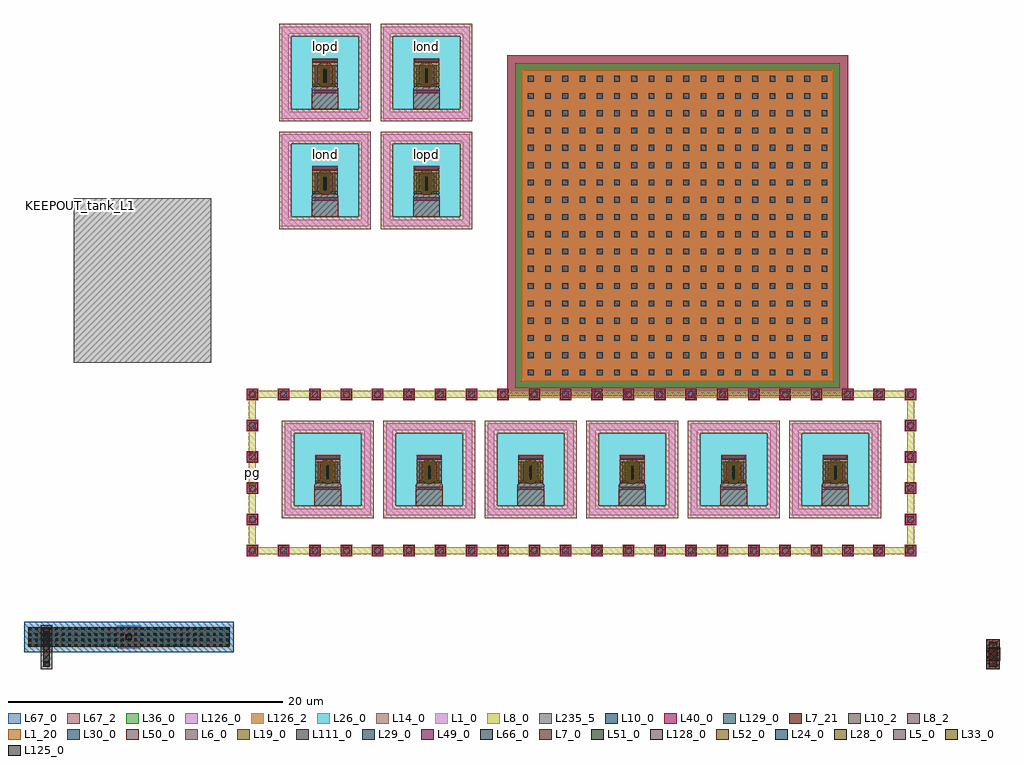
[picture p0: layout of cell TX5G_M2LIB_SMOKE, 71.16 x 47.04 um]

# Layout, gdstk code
from math import pi, radians
import gdstk
lib = gdstk.Library(unit=1e-6, precision=1e-09)
def R(c, l, rs):  # rectangles x0, y0, x1, y1
    for r in rs: c.add(gdstk.rectangle(r[:2], r[2:], *l))
def A(c, l, x, y, w, h, nx, ny, dx, dy):  # array of equal rectangles
    R(c, l, [(x+i*dx, y+j*dy, x+i*dx+w, y+j*dy+h) for i in range(nx) for j in range(ny)])
def P(c, l, *ps):  # polygons
    for p in ps: c.add(gdstk.Polygon(p, *l))
L1_0 = (1, 0)
L1_20 = (1, 20)
L5_0 = (5, 0)
L6_0 = (6, 0)
L7_0 = (7, 0)
L7_21 = (7, 21)
L8_0 = (8, 0)
L8_2 = (8, 2)
L10_0 = (10, 0)
L10_2 = (10, 2)
L14_0 = (14, 0)
L19_0 = (19, 0)
L24_0 = (24, 0)
L26_0 = (26, 0)
L28_0 = (28, 0)
L29_0 = (29, 0)
L30_0 = (30, 0)
L33_0 = (33, 0)
L36_0 = (36, 0)
L40_0 = (40, 0)
L49_0 = (49, 0)
L50_0 = (50, 0)
L51_0 = (51, 0)
L52_0 = (52, 0)
L66_0 = (66, 0)
L67_0 = (67, 0)
L67_2 = (67, 2)
L111_0 = (111, 0)
L125_0 = (125, 0)
L126_0 = (126, 0)
L126_2 = (126, 2)
L128_0 = (128, 0)
L129_0 = (129, 0)
L235_5 = (235, 5)

npn13g2 = lib.new_cell('npn13G2')
R(npn13g2, L1_0, [(-0.925,0.98,0.925,1.28)])
P(npn13g2, L1_0, [(-3.15,-3.13),(-3.15,3.58),(2.65,3.58),(2.65,3.08),(-2.65,3.08),(-2.65,-2.63),(2.65,-2.63),(2.65,3.58),(3.15,3.58),(3.15,-3.13)])
P(npn13g2, L1_20, [(-0.235,-0.83),(-0.445,-0.62),(-0.925,-0.62),(-0.925,0.98),(0.925,0.98),(0.925,-0.62),(0.445,-0.62),(0.235,-0.83)])
R(npn13g2, L6_0, [(-0.76,-1.22,0.76,-1.06), (-0.825,1.05,0.825,1.21)])
P(npn13g2, L7_21, [(-0.975,-2.43),(-0.975,-0.9),(-0.555,-0.48),(-0.555,0.69),(-0.305,0.94),(0.305,0.94),(0.555,0.69),(0.555,-0.48),(0.975,-0.9),(0.975,-2.43)])
R(npn13g2, L8_0, [(-0.975,-1.26,0.975,-1.02), (-0.35,-0.785,0.35,0.77), (-0.925,1.01,0.925,1.25)])
R(npn13g2, L8_2, [(-0.975,-1.26,0.975,-1.02), (-0.975,-1.26,0.975,-1.02), (-0.925,1.01,0.925,1.25), (-0.925,1.01,0.925,1.25)])
R(npn13g2, L10_0, [(-0.925,-0.785,0.925,0.77)])
R(npn13g2, L10_2, [(-0.745,-0.785,0.745,0.77), (-0.745,-0.785,0.745,0.77)])
P(npn13g2, L14_0, [(-3.35,-3.33),(-3.35,3.78),(2.45,3.78),(2.45,2.88),(-2.45,2.88),(-2.45,-2.43),(2.45,-2.43),(2.45,3.78),(3.35,3.78),(3.35,-3.33)])
A(npn13g2, L19_0, -0.3, -0.72, 0.19, 0.19, 1, 4, 0, 0.41)
A(npn13g2, L19_0, 0.11, -0.72, 0.19, 0.19, 1, 4, 0, 0.41)
R(npn13g2, L26_0, [(-2.45,-2.43,2.45,2.88)])
R(npn13g2, L33_0, [(-0.035,-0.45,0.035,0.45)])
R(npn13g2, L51_0, [(-0.085,-0.5,0.085,0.5)])
npn13g2.add(gdstk.Label('npn13G2', (0,0), layer=51, texttype=0))
npn13g2.add(gdstk.Label('npn13G2', (0.015,2.31), layer=63, texttype=0))
npn13g2.add(gdstk.Label('C', (0,1.13), layer=63, texttype=0))
npn13g2.add(gdstk.Label('B', (0,-1.14), layer=63, texttype=0))
npn13g2.add(gdstk.Label('E', (0,-0.007), layer=63, texttype=0))
npn13g2.add(gdstk.Label('Ae=1*1*0.07*0.90', (-1.977,-2.546), layer=63, texttype=0))

ptap1 = lib.new_cell('ptap1')
R(ptap1, L1_0, [(0,0,0.78,0.78)])
R(ptap1, L6_0, [(0.14,0.14,0.3,0.3), (0.48,0.14,0.64,0.3), (0.14,0.48,0.3,0.64), (0.48,0.48,0.64,0.64)])
R(ptap1, L8_0, [(0.14,0.09,0.64,0.69), (0.14,0.14,0.64,0.64), (0.14,0.14,0.64,0.64)])
R(ptap1, L8_2, [(0.14,0.14,0.64,0.64)])
R(ptap1, L14_0, [(-0.03,-0.03,0.81,0.81)])
R(ptap1, L40_0, [(0,0,0.78,0.78), (0,0,0.78,0.78)])
ptap1.add(gdstk.Label('sub!', (0.39,0.01), layer=63, texttype=0))
ptap1.add(gdstk.Label('sub!', (0.39,0.01), layer=40, texttype=0))

via_stack = lib.new_cell('via_stack')
R(via_stack, L8_0, [(-7.345,-0.72,7.345,0.72)])
R(via_stack, L10_0, [(-7.345,-0.715,7.345,0.715)])
A(via_stack, L19_0, -7.295, -0.71, 0.19, 0.19, 31, 4, 0.48, 0.41)

via_stack_1 = lib.new_cell('via_stack$1')
R(via_stack_1, L10_0, [(-7.345,-0.715,7.345,0.715)])
A(via_stack_1, L29_0, -7.295, -0.71, 0.19, 0.19, 31, 4, 0.48, 0.41)
R(via_stack_1, L30_0, [(-7.345,-0.715,7.345,0.715)])
A(via_stack_1, L49_0, -7.295, -0.71, 0.19, 0.19, 31, 4, 0.48, 0.41)
R(via_stack_1, L50_0, [(-7.345,-0.715,7.345,0.715)])
A(via_stack_1, L66_0, -7.295, -0.71, 0.19, 0.19, 31, 4, 0.48, 0.41)
R(via_stack_1, L67_0, [(-7.345,-0.715,7.345,0.715)])
R(via_stack_1, L125_0, [(-0.21,-0.21,0.21,0.21)])
R(via_stack_1, L126_0, [(-0.82,-0.82,0.82,0.82)])

rsil = lib.new_cell('rsil')
R(rsil, L5_0, [(0,-0.35,0.5,0), (0,2.14,0.5,2.49)])
R(rsil, L6_0, [(0.07,-0.28,0.43,-0.12), (0.07,2.26,0.43,2.42)])
R(rsil, L8_0, [(0.02,-0.33,0.48,-0.07), (0.02,2.21,0.48,2.47)])
R(rsil, L8_2, [(0.02,-0.33,0.48,-0.07), (0.02,-0.33,0.48,-0.07), (0.02,2.21,0.48,2.47), (0.02,2.21,0.48,2.47)])
R(rsil, L24_0, [(0,0,0.5,2.14)])
R(rsil, L52_0, [(0,0,0.5,2.14)])
R(rsil, L111_0, [(-0.18,-0.53,0.68,0), (-0.18,0,0.68,2.14), (-0.18,0,0.68,2.67)])
R(rsil, L128_0, [(0,0,0.5,2.14)])
rsil.add(gdstk.Label('rsil r=47.4', (0.25,1.07), layer=63, texttype=0))
rsil.add(gdstk.Label('rsil', (0.25,1.07), layer=52, texttype=0))

rhigh = lib.new_cell('rhigh')
R(rhigh, L5_0, [(0,-0.43,0.62,0), (0,0.96,0.62,1.39)])
R(rhigh, L6_0, [(0.07,-0.36,0.55,-0.2), (0.07,1.16,0.55,1.32)])
R(rhigh, L7_0, [(-0.18,-0.61,0.8,0.18), (-0.18,0,0.8,0.96), (-0.18,0,0.8,0.96), (-0.18,0.78,0.8,1.57)])
R(rhigh, L8_0, [(0.02,-0.41,0.6,-0.15), (0.02,1.11,0.6,1.37)])
R(rhigh, L8_2, [(0.02,-0.41,0.6,-0.15), (0.02,-0.41,0.6,-0.15), (0.02,1.11,0.6,1.37), (0.02,1.11,0.6,1.37)])
R(rhigh, L14_0, [(-0.18,-0.61,0.8,0.18), (-0.18,0,0.8,0.96), (-0.18,0,0.8,0.96), (-0.18,0.78,0.8,1.57)])
R(rhigh, L28_0, [(-0.2,0,0.82,0.96)])
R(rhigh, L52_0, [(0,0,0.62,0.96)])
R(rhigh, L111_0, [(-0.18,-0.61,0.8,0.18), (-0.2,0,0.82,0.96), (-0.18,0.78,0.8,1.57)])
R(rhigh, L128_0, [(0,0,0.62,0.96)])
rhigh.add(gdstk.Label('rhigh r=2509.099', (0.31,0.48), layer=63, texttype=0))
rhigh.add(gdstk.Label('rhigh', (0.31,0.48), layer=52, texttype=0))

cmim = lib.new_cell('cmim')
R(cmim, L36_0, [(0,0,23.66,23.66)])
R(cmim, L67_0, [(-0.6,-0.6,24.26,24.26)])
R(cmim, L67_2, [(-0.6,-0.6,24.26,24.26)])
R(cmim, L126_0, [(0.49,0.49,23.17,23.17)])
R(cmim, L126_2, [(0.49,0.49,23.17,23.17)])
A(cmim, L129_0, 0.91, 0.91, 0.42, 0.42, 18, 18, 1.26, 1.26)
cmim.add(gdstk.Label('c=844f', (11.83,11.83), layer=63, texttype=0))
cmim.add(gdstk.Label('cmim', (11.83,11.83), layer=63, texttype=0))

tx5g_m2lib_smoke = lib.new_cell('TX5G_M2LIB_SMOKE')
R(tx5g_m2lib_smoke, L8_0, [(21,-5.95,69,-5.45), (20.75,-5.7,21.25,5.7), (68.75,-5.7,69.25,5.7), (21,5.45,69,5.95)])
R(tx5g_m2lib_smoke, L10_0, [(4.355,-13.12,19.645,-10.88)])
R(tx5g_m2lib_smoke, L235_5, [(8,8,18,20)])
tx5g_m2lib_smoke.add(gdstk.Reference(npn13g2, (26.5,0)))
tx5g_m2lib_smoke.add(gdstk.Reference(npn13g2, (33.9,0)))
tx5g_m2lib_smoke.add(gdstk.Reference(npn13g2, (41.3,0)))
tx5g_m2lib_smoke.add(gdstk.Reference(npn13g2, (48.7,0), rotation=pi, x_reflection=True))
tx5g_m2lib_smoke.add(gdstk.Reference(npn13g2, (56.1,0), rotation=pi, x_reflection=True))
tx5g_m2lib_smoke.add(gdstk.Reference(npn13g2, (63.5,0), rotation=pi, x_reflection=True))
tx5g_m2lib_smoke.add(gdstk.Reference(ptap1, (20.61,-6.09)))
tx5g_m2lib_smoke.add(gdstk.Reference(ptap1, (20.61,5.31)))
tx5g_m2lib_smoke.add(gdstk.Reference(ptap1, (22.895,-6.09)))
tx5g_m2lib_smoke.add(gdstk.Reference(ptap1, (22.895,5.31)))
tx5g_m2lib_smoke.add(gdstk.Reference(ptap1, (25.18,-6.09)))
tx5g_m2lib_smoke.add(gdstk.Reference(ptap1, (25.18,5.31)))
tx5g_m2lib_smoke.add(gdstk.Reference(ptap1, (27.465,-6.09)))
tx5g_m2lib_smoke.add(gdstk.Reference(ptap1, (27.465,5.31)))
tx5g_m2lib_smoke.add(gdstk.Reference(ptap1, (29.75,-6.09)))
tx5g_m2lib_smoke.add(gdstk.Reference(ptap1, (29.75,5.31)))
tx5g_m2lib_smoke.add(gdstk.Reference(ptap1, (32.035,-6.09)))
tx5g_m2lib_smoke.add(gdstk.Reference(ptap1, (32.035,5.31)))
tx5g_m2lib_smoke.add(gdstk.Reference(ptap1, (34.32,-6.09)))
tx5g_m2lib_smoke.add(gdstk.Reference(ptap1, (34.32,5.31)))
tx5g_m2lib_smoke.add(gdstk.Reference(ptap1, (36.605,-6.09)))
tx5g_m2lib_smoke.add(gdstk.Reference(ptap1, (36.605,5.31)))
tx5g_m2lib_smoke.add(gdstk.Reference(ptap1, (38.89,-6.09)))
tx5g_m2lib_smoke.add(gdstk.Reference(ptap1, (38.89,5.31)))
tx5g_m2lib_smoke.add(gdstk.Reference(ptap1, (41.175,-6.09)))
tx5g_m2lib_smoke.add(gdstk.Reference(ptap1, (41.175,5.31)))
tx5g_m2lib_smoke.add(gdstk.Reference(ptap1, (43.46,-6.09)))
tx5g_m2lib_smoke.add(gdstk.Reference(ptap1, (43.46,5.31)))
tx5g_m2lib_smoke.add(gdstk.Reference(ptap1, (45.745,-6.09)))
tx5g_m2lib_smoke.add(gdstk.Reference(ptap1, (45.745,5.31)))
tx5g_m2lib_smoke.add(gdstk.Reference(ptap1, (48.03,-6.09)))
tx5g_m2lib_smoke.add(gdstk.Reference(ptap1, (48.03,5.31)))
tx5g_m2lib_smoke.add(gdstk.Reference(ptap1, (50.315,-6.09)))
tx5g_m2lib_smoke.add(gdstk.Reference(ptap1, (50.315,5.31)))
tx5g_m2lib_smoke.add(gdstk.Reference(ptap1, (52.6,-6.09)))
tx5g_m2lib_smoke.add(gdstk.Reference(ptap1, (52.6,5.31)))
tx5g_m2lib_smoke.add(gdstk.Reference(ptap1, (54.885,-6.09)))
tx5g_m2lib_smoke.add(gdstk.Reference(ptap1, (54.885,5.31)))
tx5g_m2lib_smoke.add(gdstk.Reference(ptap1, (57.17,-6.09)))
tx5g_m2lib_smoke.add(gdstk.Reference(ptap1, (57.17,5.31)))
tx5g_m2lib_smoke.add(gdstk.Reference(ptap1, (59.455,-6.09)))
tx5g_m2lib_smoke.add(gdstk.Reference(ptap1, (59.455,5.31)))
tx5g_m2lib_smoke.add(gdstk.Reference(ptap1, (61.74,-6.09)))
tx5g_m2lib_smoke.add(gdstk.Reference(ptap1, (61.74,5.31)))
tx5g_m2lib_smoke.add(gdstk.Reference(ptap1, (64.025,-6.09)))
tx5g_m2lib_smoke.add(gdstk.Reference(ptap1, (64.025,5.31)))
tx5g_m2lib_smoke.add(gdstk.Reference(ptap1, (66.31,-6.09)))
tx5g_m2lib_smoke.add(gdstk.Reference(ptap1, (66.31,5.31)))
tx5g_m2lib_smoke.add(gdstk.Reference(ptap1, (68.61,-6.09)))
tx5g_m2lib_smoke.add(gdstk.Reference(ptap1, (68.61,5.31)))
tx5g_m2lib_smoke.add(gdstk.Reference(ptap1, (20.61,-3.81)))
tx5g_m2lib_smoke.add(gdstk.Reference(ptap1, (68.61,-3.81)))
tx5g_m2lib_smoke.add(gdstk.Reference(ptap1, (20.61,-1.53)))
tx5g_m2lib_smoke.add(gdstk.Reference(ptap1, (68.61,-1.53)))
tx5g_m2lib_smoke.add(gdstk.Reference(ptap1, (20.61,0.75)))
tx5g_m2lib_smoke.add(gdstk.Reference(ptap1, (68.61,0.75)))
tx5g_m2lib_smoke.add(gdstk.Reference(ptap1, (20.61,3.03)))
tx5g_m2lib_smoke.add(gdstk.Reference(ptap1, (68.61,3.03)))
tx5g_m2lib_smoke.add(gdstk.Reference(npn13g2, (26.3,28.925)))
tx5g_m2lib_smoke.add(gdstk.Reference(npn13g2, (33.7,28.925)))
tx5g_m2lib_smoke.add(gdstk.Reference(npn13g2, (26.3,21.075)))
tx5g_m2lib_smoke.add(gdstk.Reference(npn13g2, (33.7,21.075)))
tx5g_m2lib_smoke.add(gdstk.Reference(via_stack, (12,-12)))
tx5g_m2lib_smoke.add(gdstk.Reference(via_stack_1, (12,-12)))
tx5g_m2lib_smoke.add(gdstk.Reference(rsil, (5.75,-13.8)))
tx5g_m2lib_smoke.add(gdstk.Reference(rhigh, (74.69,-13.72)))
tx5g_m2lib_smoke.add(gdstk.Reference(cmim, (40.17,6.17)))
tx5g_m2lib_smoke.add(gdstk.Label('pg', (21,0), layer=8, texttype=25))
tx5g_m2lib_smoke.add(gdstk.Label('lopd', (26.3,31.055), layer=8, texttype=25))
tx5g_m2lib_smoke.add(gdstk.Label('lopd', (33.7,23.205), layer=8, texttype=25))
tx5g_m2lib_smoke.add(gdstk.Label('lond', (33.7,31.055), layer=8, texttype=25))
tx5g_m2lib_smoke.add(gdstk.Label('lond', (26.3,23.205), layer=8, texttype=25))
tx5g_m2lib_smoke.add(gdstk.Label('KEEPOUT_tank_L1', (8.5,19.5), layer=235, texttype=5))

lib.write_gds('TX5G_M2LIB_SMOKE.gds')
